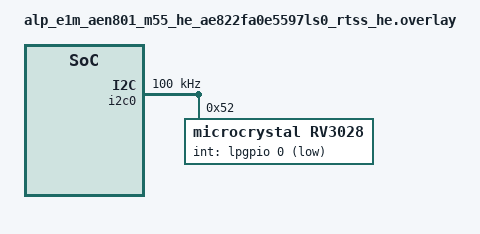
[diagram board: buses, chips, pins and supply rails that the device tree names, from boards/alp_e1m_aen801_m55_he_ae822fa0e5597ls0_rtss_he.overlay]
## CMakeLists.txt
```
# SPDX-License-Identifier: Apache-2.0
#
# On-module RV-3028-C7 RTC + alarm-interrupt example for the E1M-AEN801 (Alif
# Ensemble E8, M55-HE), over UPSTREAM Zephyr's rtc_* API (rtc_rv3028, ADR 0017
# Tier-1 -- no alp-sdk driver in the path).
#
# Plain Zephyr app: it consumes a devicetree-bound upstream driver, so it has no
# board.yaml / alp_project.py step (nothing to select via CONFIG_ALP_SDK_CHIP_*).
# Build with the alp-sdk bench helper, which resolves the fully-qualified board
# target so boards/*.overlay auto-applies:
#
#   scripts/bench/aen/build.sh examples/aen/aen-rtc-alarm
#
# or by hand:
#   west build -b alp_e1m_aen801_m55_he/ae822fa0e5597ls0/rtss_he \
#       examples/aen/aen-rtc-alarm -- \
#       "-DEXTRA_ZEPHYR_MODULES=<alp-sdk>;<hal_alif>"

cmake_minimum_required(VERSION 3.20)

find_package(Zephyr REQUIRED HINTS $ENV{ZEPHYR_BASE})
project(aen_rtc_alarm LANGUAGES C)

target_sources(app PRIVATE src/main.c)
```

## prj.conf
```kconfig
# SPDX-License-Identifier: Apache-2.0
#
# On-module RV-3028-C7 RTC + alarm example for the E1M-AEN801 (Alif Ensemble E8).

# --- Console -----------------------------------------------------------------
# E1M edge UART0 (Alif UART5, P3_4/P3_5, 115200 8N1, NS16550) -- the
# E1M-AEN801 carrier console. The board _defconfig already selects it; it is
# repeated here so the example is self-describing.
CONFIG_SERIAL=y
CONFIG_CONSOLE=y
CONFIG_UART_CONSOLE=y
CONFIG_UART_INTERRUPT_DRIVEN=y
# Serial-less bench? Comment the four lines above and uncomment these to read
# 'ram_console_buf' over SWD instead:
# CONFIG_RAM_CONSOLE=y
# CONFIG_RAM_CONSOLE_BUFFER_SIZE=2048
# CONFIG_UART_CONSOLE=n
CONFIG_PRINTK=y

# --- BRD_I2C (SoC I2C0) ------------------------------------------------------
# The upstream i2c_dw driver (CONFIG_I2C_DW) self-selects `default y` from the
# okay'd "snps,designware-i2c" i2c0 node, so only the subsystem needs enabling.
# PINCTRL is pulled in by i2c0's pinctrl-0; set explicitly for clarity.
CONFIG_I2C=y
CONFIG_PINCTRL=y

# --- Alarm interrupt line ----------------------------------------------------
# The RV-3028 /INT lands on P15_0 = lpgpio bit 0 = IRQ 171, so the driver needs
# the GPIO subsystem to install its edge-triggered callback on that pin.
# CONFIG_GPIO_DW self-selects from the okay'd "snps,designware-gpio" lpgpio node.
CONFIG_GPIO=y

# --- RTC ---------------------------------------------------------------------
# CONFIG_RTC_RV3028 is `default y` off the "microcrystal,rv3028" node in the
# board overlay; it is named here so the example states its own dependency.
# CONFIG_RTC_ALARM is what compiles the alarm half of the driver -- WITHOUT it,
# rtc_alarm_set_callback() and friends are not built and this app does not link.
CONFIG_RTC=y
CONFIG_RTC_ALARM=y
CONFIG_RTC_RV3028=y

# Link at the HE MRAM app partition (0x80010000) so the vector table matches the
# ATOC load address (app-zephyr-he.json mramAddress=0x80010000). FLASH_BASE is
# the full MRAM (0x80000000); without this offset the image links 64 KB low and
# the SES boots into a fault. This is a flashed SES/slot0 target, not a RAM-run
# -- for a Flow C ITCM RAM-run, pass scripts/bench/aen/aen-flowc-itcm.{conf,overlay}
# on the build command line rather than editing this file.
CONFIG_FLASH_LOAD_OFFSET=0x10000

# Logging OFF: this is a teaching example and every line it needs is a printk.
CONFIG_LOG=n
```

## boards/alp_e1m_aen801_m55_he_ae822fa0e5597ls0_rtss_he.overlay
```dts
/*
 * Copyright (c) 2026 Alp Lab AB
 * SPDX-License-Identifier: Apache-2.0
 *
 * On-module RV-3028-C7 RTC + alarm-interrupt overlay for the E1M-AEN801
 * (Alif Ensemble E8, M55-HE).
 *
 * Everything here is a MODULE fact, not an application choice, so it is on its
 * way DOWN one layer: the board files
 * (zephyr/boards/alp/e1m_aen801_m55_he/) are gaining the BRD_I2C bus + the
 * on-module device nodes so every AEN801 app gets them for free.  Until that
 * lands this overlay carries them; because devicetree merges by node PATH and
 * the content below is identical to what the board layer emits, the two
 * compose harmlessly, and this file can then shrink to just the pieces the
 * board layer does not own.
 *
 * The filename must be the FULLY-QUALIFIED board id with '/' -> '_'
 * (alp_e1m_aen801_m55_he/ae822fa0e5597ls0/rtss_he).  Zephyr auto-applies a
 * boards/<name>.overlay only on an exact match against the build's qualified
 * board id -- a bare `alp_e1m_aen801_m55_he.overlay` is SILENTLY ignored, and
 * the app then builds with no RTC node at all.
 *
 * ---------------------------------------------------------------------------
 * BUS -- BRD_I2C is SoC I2C0 function C
 * ---------------------------------------------------------------------------
 * E1M-AEN-2626-R2 netlist pinmap rows:
 *     "BRD_I2C_SDA",U6,B8,"P7_0/SCP0_A"
 *     "BRD_I2C_SCL",U6,B3,"P7_1/SCP1_A"
 * AE822 DFP pin table: P7_0 alt-fn [4] = I2C0_SDA_C, P7_1 alt-fn [4] =
 * I2C0_SCL_C.  So BRD_I2C is the DesignWare master i2c0 (i2c@49010000,
 * "snps,designware-i2c", interrupts = <132 3>), driven by UPSTREAM Zephyr's
 * i2c_dw -- ADR 0017 Tier-1, no vendored driver.
 *
 * Two pad traps, each of which has already cost a wasted bench run:
 *
 *   input-enable on BOTH pins.  Alif's own DFP sets PADCTRL_READ_ENABLE on
 *   P7_0 *and* P7_1.  With it on SDA only, i2c_dw cannot sense SCL
 *   (clock-stretch detect / arbitration) and NACKs every address for a reason
 *   that looks electrical but is not.
 *
 *   bias-pull-up, NOT bias-pull-down.  soc/alif/ensemble/pinctrl_soc.h encodes
 *   pad bits 19:20 [DSC] as 0 = high-Z, 1 = pull-up, 2 = pull-down,
 *   3 = bus-keeper, so bias-pull-up here is a REAL pull-up.  Do NOT copy the
 *   I2C2/EEPROM overlay's bias-pull-down: that is DSC=2, a pull-DOWN, and it is
 *   harmless there only because that segment has external carrier pull-ups
 *   (R137/R144) that overpower it.  BRD_I2C has NO external pull-up anywhere --
 *   it never reaches the E1M edge connector, so no carrier can add one.
 *
 * drive-open-drain is deliberately NOT set, so pad bit 23 [DRV] stays 0 =
 * push-pull and the pad actively drives the high phase instead of waiting on a
 * pull-up.  BENCH-PROVEN 2026-09-05 on E1M-AEN801 2626-R2 (Flow A, cold-cycle
 * proven): every non-response on this bus is a clean rc=-5 (-EIO) NACK, with
 * ZERO -ETIMEDOUT and ZERO "User Abort" -- the bus works on the internal pull
 * alone.  (An older ensemble_e8_peripherals.dtsi comment calling this bus "NOT
 * usable as built" was measured on an r1 module, where these parts are not on
 * P7_0/P7_1 at all.  It does not apply to R2.)
 *
 * ---------------------------------------------------------------------------
 * ALARM LINE -- RV-3028 /INT -> P15_0 -> LPGPIO bit 0 -> IRQ 171
 * ---------------------------------------------------------------------------
 * U21 pin 2 (/INT) drives net RTC_ALARM to SoC pad U6 V2 = P15_0_FLEX, with
 * R98 = 100k to +1V8 FITTED as the open-drain pull-up.  ACTIVE LOW.
 *
 * P15 is the Alif low-power GPIO island (lpgpio @ 0x42002000,
 * "snps,designware-gpio", ngpios = <8>, interrupts = <171 3> .. <178 3>, one
 * IRQ per bit).  P15_0 is bit 0, so the alarm lands on IRQ 171.
 *
 * No pinctrl group is needed for P15_0: PIN_P15_0__LPGPIO is
 * ALIF_PINMUX(15, 0, 0) -- function 0, the pad's RESET DEFAULT.  Same reasoning
 * as examples/aen/aen-usb-firstlight, which drives P15_1/P15_5 with a bare
 * `&lpgpio { status = "okay"; }`.
 *
 * RISK, and the first thing to check if the interrupt never fires: the AE822
 * DFP warns "Note that LPGPIO_CTRL_n register has a different layout!" for
 * port 15.  If rtc_get_time() works but the alarm callback never arrives, that
 * layout difference (not the RTC) is the leading suspect -- see the RESULT
 * PARTIAL wording in src/main.c.
 *
 * ---------------------------------------------------------------------------
 * POWER -- why backup-switch-mode is "disabled" and there is no trickle charger
 * ---------------------------------------------------------------------------
 * VDD_BAT / VBACKUP (U21 pin 6) has NO SUPPLY FITTED on this batch.  Its only
 * other net members are R4 and R68, both 0-ohm and both DNP=1.  There is no
 * backup cell and no trickle source, so:
 *
 *   backup-switch-mode = "disabled"   (the binding REQUIRES this property, and
 *                                      "direct"/"level" would arm a switchover
 *                                      to a rail that does not exist)
 *   trickle-resistor-ohms OMITTED     (enabling a trickle charger into an
 *                                      unpopulated VBACKUP would be wrong)
 *
 * CONSEQUENCE, and the thing customers get bitten by: the RV-3028 does NOT
 * retain the time OR a pending alarm across a power cycle on this batch.  Every
 * cold boot starts from an unset clock.  Do not build persistence on it.
 *
 * clkout-frequency is also OMITTED.  RTC_CLKOUT (U21 pin 1) goes ONLY to the
 * E1M edge connector (E1 pin AH16); it does NOT reach the SoC, so firmware
 * cannot consume it.  Leaving the property out keeps the pin LOW; enabling it
 * is a CARRIER designer's choice, not a firmware one.
 *
 * MODULE_STBY (U21 pin 8, the EVI external-event input) likewise comes FROM the
 * edge connector (E1 pin O2) with R43 = 100k to +1V8.  It is carrier-driven; no
 * firmware on this module can assert it.
 */

#include <zephyr/dt-bindings/pinctrl/alif-ensemble-pinctrl.h>
#include <zephyr/dt-bindings/gpio/gpio.h>
#include <zephyr/dt-bindings/i2c/i2c.h>

&pinctrl {
	/* One group, both pins, identical config -- see the header for why
	 * input-enable must be on BOTH and why the bias is a pull-UP. */
	pinctrl_i2c0: pinctrl_i2c0 {
		group0 {
			pinmux = <PIN_P7_0__I2C0_SDA_C>, <PIN_P7_1__I2C0_SCL_C>;
			input-enable;
			bias-pull-up;
			/* This net's rise time is set by the weak internal pull, so
			 * the edges are slow; hysteresis stops a slow edge being read
			 * as several transitions. */
			input-schmitt-enable;
			/* The pad is push-pull here, so drive strength and slew rate
			 * really do shorten the rising edge.  Max both. */
			drive-strength = <12>;
			slew-rate = "fast";
		};
	};
};

/* Enable the LP GPIO island so the RTC_ALARM input (P15_0 = lpgpio bit 0,
 * IRQ 171) is readable and interruptible.  gpio_dw needs no clocks and no
 * pinctrl on the controller, and P15_0's reset-default mux is already LPGPIO. */
&lpgpio {
	status = "okay";
};

&i2c0 {
	status = "okay";
	pinctrl-0 = <&pinctrl_i2c0>;
	pinctrl-names = "default";
	/* 100 kHz standard mode.  No fast-mode margin: this net's only pull is
	 * the SoC pad's internal one (see the header). */
	clock-frequency = <I2C_BITRATE_STANDARD>;

	/*
	 * U21 = RV-3028-C7 32.768KHZ 1PPM-TA-QA (Micro Crystal), DNP=0 FITTED.
	 * 7-bit address 0x52, bench-confirmed 2026-09-05 (ID register 0x28 reads
	 * 0x44, and the Seconds register advanced 0x01 -> 0x02, so the oscillator
	 * is genuinely running).
	 *
	 * Bound by UPSTREAM Zephyr's drivers/rtc/rtc_rv3028.c
	 * (compatible "microcrystal,rv3028", CONFIG_RTC_RV3028) -- ADR 0017
	 * Tier-1, no vendored code.
	 */
	rv3028: rtc@52 {
		compatible = "microcrystal,rv3028";
		reg = <0x52>;

		/* REQUIRED by the binding.  "disabled" is the only correct value on
		 * this batch: VBACKUP (U21 pin 6) has no supply fitted -- R4 and R68
		 * are both DNP -- so there is nothing to switch over TO. */
		backup-switch-mode = "disabled";

		/* trickle-resistor-ohms deliberately ABSENT: no backup cell exists to
		 * charge.  clkout-frequency deliberately ABSENT: RTC_CLKOUT reaches
		 * only the E1M edge connector (E1 pin AH16), never the SoC. */

		/* /INT -> P15_0 -> lpgpio bit 0 -> IRQ 171.  Open-drain, ACTIVE LOW,
		 * pulled to +1V8 by R98 = 100k (fitted).  The driver configures this
		 * as GPIO_INT_EDGE_TO_ACTIVE, which is why a stale, still-asserted
		 * /INT from a previous run produces no edge and no callback -- see the
		 * flag-clearing note in src/main.c. */
		int-gpios = <&lpgpio 0 GPIO_ACTIVE_LOW>;
	};
};
```

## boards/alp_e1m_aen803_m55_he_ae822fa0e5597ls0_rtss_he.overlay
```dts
/*
 * Copyright (c) 2026 Alp Lab AB
 * SPDX-License-Identifier: Apache-2.0
 *
 * On-module RV-3028-C7 RTC + alarm-interrupt overlay for the E1M-AEN803
 * (Alif Ensemble E8, M55-HE).
 *
 * Everything here is a MODULE fact, not an application choice, so it is on its
 * way DOWN one layer: the board files
 * (zephyr/boards/alp/e1m_aen803_m55_he/) are gaining the BRD_I2C bus + the
 * on-module device nodes so every AEN803 app gets them for free.  Until that
 * lands this overlay carries them; because devicetree merges by node PATH and
 * the content below is identical to what the board layer emits, the two
 * compose harmlessly, and this file can then shrink to just the pieces the
 * board layer does not own.
 *
 * The filename must be the FULLY-QUALIFIED board id with '/' -> '_'
 * (alp_e1m_aen803_m55_he/ae822fa0e5597ls0/rtss_he).  Zephyr auto-applies a
 * boards/<name>.overlay only on an exact match against the build's qualified
 * board id -- a bare `alp_e1m_aen803_m55_he.overlay` is SILENTLY ignored, and
 * the app then builds with no RTC node at all.
 *
 * ---------------------------------------------------------------------------
 * BUS -- BRD_I2C is SoC I2C0 function C
 * ---------------------------------------------------------------------------
 * E1M-AEN-2626-R2 netlist pinmap rows:
 *     "BRD_I2C_SDA",U6,B8,"P7_0/SCP0_A"
 *     "BRD_I2C_SCL",U6,B3,"P7_1/SCP1_A"
 * AE822 DFP pin table: P7_0 alt-fn [4] = I2C0_SDA_C, P7_1 alt-fn [4] =
 * I2C0_SCL_C.  So BRD_I2C is the DesignWare master i2c0 (i2c@49010000,
 * "snps,designware-i2c", interrupts = <132 3>), driven by UPSTREAM Zephyr's
 * i2c_dw -- ADR 0017 Tier-1, no vendored driver.
 *
 * Two pad traps, each of which has already cost a wasted bench run:
 *
 *   input-enable on BOTH pins.  Alif's own DFP sets PADCTRL_READ_ENABLE on
 *   P7_0 *and* P7_1.  With it on SDA only, i2c_dw cannot sense SCL
 *   (clock-stretch detect / arbitration) and NACKs every address for a reason
 *   that looks electrical but is not.
 *
 *   bias-pull-up, NOT bias-pull-down.  soc/alif/ensemble/pinctrl_soc.h encodes
 *   pad bits 19:20 [DSC] as 0 = high-Z, 1 = pull-up, 2 = pull-down,
 *   3 = bus-keeper, so bias-pull-up here is a REAL pull-up.  Do NOT copy the
 *   I2C2/EEPROM overlay's bias-pull-down: that is DSC=2, a pull-DOWN, and it is
 *   harmless there only because that segment has external carrier pull-ups
 *   (R137/R144) that overpower it.  BRD_I2C has NO external pull-up anywhere --
 *   it never reaches the E1M edge connector, so no carrier can add one.
 *
 * drive-open-drain is deliberately NOT set, so pad bit 23 [DRV] stays 0 =
 * push-pull and the pad actively drives the high phase instead of waiting on a
 * pull-up.  BENCH-PROVEN 2026-09-05 on E1M-AEN801 2626-R2 (Flow A, cold-cycle
 * proven): every non-response on this bus is a clean rc=-5 (-EIO) NACK, with
 * ZERO -ETIMEDOUT and ZERO "User Abort" -- the bus works on the internal pull
 * alone.  (An older ensemble_e8_peripherals.dtsi comment calling this bus "NOT
 * usable as built" was measured on an r1 module, where these parts are not on
 * P7_0/P7_1 at all.  It does not apply to R2.)  This is SoC-pad electrics on
 * the same AE822 M55-HE die, not an OSPI0/HyperRAM-population fact, so it is
 * expected to hold on AEN803 too -- but AEN803 has not been separately
 * bench-proven on this bus, and this backfilled overlay is unbuilt as of
 * #2128 (Refs #2128).
 *
 * ---------------------------------------------------------------------------
 * ALARM LINE -- RV-3028 /INT -> P15_0 -> LPGPIO bit 0 -> IRQ 171
 * ---------------------------------------------------------------------------
 * U21 pin 2 (/INT) drives net RTC_ALARM to SoC pad U6 V2 = P15_0_FLEX, with
 * R98 = 100k to +1V8 FITTED as the open-drain pull-up.  ACTIVE LOW.
 *
 * P15 is the Alif low-power GPIO island (lpgpio @ 0x42002000,
 * "snps,designware-gpio", ngpios = <8>, interrupts = <171 3> .. <178 3>, one
 * IRQ per bit).  P15_0 is bit 0, so the alarm lands on IRQ 171.
 *
 * No pinctrl group is needed for P15_0: PIN_P15_0__LPGPIO is
 * ALIF_PINMUX(15, 0, 0) -- function 0, the pad's RESET DEFAULT.  Same reasoning
 * as examples/aen/aen-usb-firstlight, which drives P15_1/P15_5 with a bare
 * `&lpgpio { status = "okay"; }`.
 *
 * RISK, and the first thing to check if the interrupt never fires: the AE822
 * DFP warns "Note that LPGPIO_CTRL_n register has a different layout!" for
 * port 15.  If rtc_get_time() works but the alarm callback never arrives, that
 * layout difference (not the RTC) is the leading suspect -- see the RESULT
 * PARTIAL wording in src/main.c.
 *
 * ---------------------------------------------------------------------------
 * POWER -- why backup-switch-mode is "disabled" and there is no trickle charger
 * ---------------------------------------------------------------------------
 * VDD_BAT / VBACKUP (U21 pin 6) has NO SUPPLY FITTED on this batch.  Its only
 * other net members are R4 and R68, both 0-ohm and both DNP=1.  There is no
 * backup cell and no trickle source, so:
 *
 *   backup-switch-mode = "disabled"   (the binding REQUIRES this property, and
 *                                      "direct"/"level" would arm a switchover
 *                                      to a rail that does not exist)
 *   trickle-resistor-ohms OMITTED     (enabling a trickle charger into an
 *                                      unpopulated VBACKUP would be wrong)
 *
 * CONSEQUENCE, and the thing customers get bitten by: the RV-3028 does NOT
 * retain the time OR a pending alarm across a power cycle on this batch.  Every
 * cold boot starts from an unset clock.  Do not build persistence on it.
 *
 * clkout-frequency is also OMITTED.  RTC_CLKOUT (U21 pin 1) goes ONLY to the
 * E1M edge connector (E1 pin AH16); it does NOT reach the SoC, so firmware
 * cannot consume it.  Leaving the property out keeps the pin LOW; enabling it
 * is a CARRIER designer's choice, not a firmware one.
 *
 * MODULE_STBY (U21 pin 8, the EVI external-event input) likewise comes FROM the
 * edge connector (E1 pin O2) with R43 = 100k to +1V8.  It is carrier-driven; no
 * firmware on this module can assert it.
 */

#include <zephyr/dt-bindings/pinctrl/alif-ensemble-pinctrl.h>
#include <zephyr/dt-bindings/gpio/gpio.h>
#include <zephyr/dt-bindings/i2c/i2c.h>

&pinctrl {
	/* One group, both pins, identical config -- see the header for why
	 * input-enable must be on BOTH and why the bias is a pull-UP. */
	pinctrl_i2c0: pinctrl_i2c0 {
		group0 {
			pinmux = <PIN_P7_0__I2C0_SDA_C>, <PIN_P7_1__I2C0_SCL_C>;
			input-enable;
			bias-pull-up;
			/* This net's rise time is set by the weak internal pull, so
			 * the edges are slow; hysteresis stops a slow edge being read
			 * as several transitions. */
			input-schmitt-enable;
			/* The pad is push-pull here, so drive strength and slew rate
			 * really do shorten the rising edge.  Max both. */
			drive-strength = <12>;
			slew-rate = "fast";
		};
	};
};

/* Enable the LP GPIO island so the RTC_ALARM input (P15_0 = lpgpio bit 0,
 * IRQ 171) is readable and interruptible.  gpio_dw needs no clocks and no
 * pinctrl on the controller, and P15_0's reset-default mux is already LPGPIO. */
&lpgpio {
	status = "okay";
};

&i2c0 {
	status = "okay";
	pinctrl-0 = <&pinctrl_i2c0>;
	pinctrl-names = "default";
	/* 100 kHz standard mode.  No fast-mode margin: this net's only pull is
	 * the SoC pad's internal one (see the header). */
	clock-frequency = <I2C_BITRATE_STANDARD>;

	/*
	 * U21 = RV-3028-C7 32.768KHZ 1PPM-TA-QA (Micro Crystal), DNP=0 FITTED.
	 * 7-bit address 0x52, bench-confirmed 2026-09-05 (ID register 0x28 reads
	 * 0x44, and the Seconds register advanced 0x01 -> 0x02, so the oscillator
	 * is genuinely running).
	 *
	 * Bound by UPSTREAM Zephyr's drivers/rtc/rtc_rv3028.c
	 * (compatible "microcrystal,rv3028", CONFIG_RTC_RV3028) -- ADR 0017
	 * Tier-1, no vendored code.
	 */
	rv3028: rtc@52 {
		compatible = "microcrystal,rv3028";
		reg = <0x52>;

		/* REQUIRED by the binding.  "disabled" is the only correct value on
		 * this batch: VBACKUP (U21 pin 6) has no supply fitted -- R4 and R68
		 * are both DNP -- so there is nothing to switch over TO. */
		backup-switch-mode = "disabled";

		/* trickle-resistor-ohms deliberately ABSENT: no backup cell exists to
		 * charge.  clkout-frequency deliberately ABSENT: RTC_CLKOUT reaches
		 * only the E1M edge connector (E1 pin AH16), never the SoC. */

		/* /INT -> P15_0 -> lpgpio bit 0 -> IRQ 171.  Open-drain, ACTIVE LOW,
		 * pulled to +1V8 by R98 = 100k (fitted).  The driver configures this
		 * as GPIO_INT_EDGE_TO_ACTIVE, which is why a stale, still-asserted
		 * /INT from a previous run produces no edge and no callback -- see the
		 * flag-clearing note in src/main.c. */
		int-gpios = <&lpgpio 0 GPIO_ACTIVE_LOW>;
	};
};
```

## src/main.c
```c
/*
 * Copyright (c) 2026 Alp Lab AB
 * SPDX-License-Identifier: Apache-2.0
 *
 * On-module RV-3028-C7 real-time clock + alarm interrupt on the E1M-AEN801
 * (Alif Ensemble E8, Cortex-M55-HE), over UPSTREAM Zephyr's `rtc_*` API.
 *
 * The part is driven by drivers/rtc/rtc_rv3028.c (compatible
 * "microcrystal,rv3028", CONFIG_RTC_RV3028) sitting on the BRD_I2C
 * housekeeping bus = SoC I2C0, and its /INT pin lands on P15_0 = LPGPIO bit 0
 * = IRQ 171.  ADR 0017 Tier-1: no alp-sdk driver, no vendored code, just the
 * devicetree node under boards/ plus this app.
 *
 * What this example demonstrates, in order
 * ---------------------------------------
 *   1. rtc_set_time() a known wall clock, rtc_get_time() it straight back, and
 *      print BOTH so the round trip is visible rather than asserted.
 *   2. Wait a few seconds and read again -- the clock must have ADVANCED.  A
 *      part that merely answers on I2C is not a running clock; only a second
 *      read separated in time proves the 32.768 kHz oscillator is oscillating.
 *   3. Arm an alarm and wait for it via the RTC alarm CALLBACK, with a bounded
 *      timeout so a dead interrupt line ends the run instead of hanging it.
 *   4. Disarm and clear the alarm flag so a re-run behaves identically.
 *   5. Print one machine-greppable RESULT PASS / PARTIAL / FAIL line.
 *
 * ===========================================================================
 * READ THIS BEFORE COPYING -- three module facts that will bite you
 * ===========================================================================
 *
 * (a) NO BACKUP SUPPLY -- THE CLOCK DOES NOT SURVIVE A POWER CYCLE.
 *     VBACKUP (U21 pin 6) has no supply fitted on this batch: its only other
 *     net members are R4 and R68, both 0-ohm and both DNP.  There is no coin
 *     cell, no supercap, and no trickle source, so the devicetree carries
 *     `backup-switch-mode = "disabled"` (the binding REQUIRES the property) and
 *     NO `trickle-resistor-ohms`.
 *
 *     Consequence: neither the time NOR a pending alarm is retained across a
 *     power cycle.  Every cold boot starts from an unset clock -- which is
 *     exactly why step 1 of this example SETS the time rather than assuming it.
 *     Do not design a feature on this RTC that implies persistence; if you need
 *     wall-clock time across a power cycle on this batch, it has to come from
 *     the network or from the host, not from here.
 *
 * (b) RTC_CLKOUT IS CARRIER-FACING AND FIRMWARE CANNOT USE IT.
 *     U21 pin 1 (CLKOUT) goes ONLY to the E1M edge connector, E1 pin AH16.  It
 *     does NOT reach the SoC.  The binding's `clkout-frequency` is therefore a
 *     choice made FOR A CARRIER, and it is deliberately omitted from the
 *     overlay so the pin stays LOW.  No firmware on this module can consume it.
 *
 * (c) MODULE_STBY / EVI IS AN INPUT DRIVEN BY THE CARRIER.
 *     U21 pin 8 (EVI, the external event input) comes FROM the edge connector,
 *     E1 pin O2, with R43 = 100k to +1V8.  It is asserted by carrier hardware.
 *     This module's firmware cannot drive it, so an EVI-triggered timestamp is
 *     a carrier integration feature, not something this app can exercise.
 *
 * ===========================================================================
 * ALARM RESOLUTION -- why the alarm is a MINUTE away, not "a few seconds"
 * ===========================================================================
 * The RV-3028's alarm register file holds MINUTES, HOURS and DATE only -- there
 * is no seconds alarm.  Upstream reflects that exactly:
 * rv3028_alarm_get_supported_fields() returns
 * MINUTE | HOUR | MONTHDAY, and rv3028_alarm_set_time() rejects any other bit
 * with -EINVAL.  So the finest alarm the hardware can express is "at the top of
 * some minute".
 *
 * This example gets a SHORT wait out of a minute-resolution alarm by choosing
 * the start time: it sets the clock to <minute>:SET_SECOND (second 40), then
 * arms the alarm for <minute>+1.  The alarm therefore fires ~20 s later --
 * short enough to watch on a bench, with no hardware capability invented.
 * ALARM_TIMEOUT_S is a full minute past that, so even a worst-case rollover
 * still ends in a bounded, reportable failure.
 *
 * Mask is RTC_ALARM_TIME_MASK_MINUTE alone -- no HOUR, no MONTHDAY.  An alarm
 * matched on minutes only recurs every hour, which is all this demo needs and
 * keeps the arming free of hour/day rollover arithmetic.
 *
 * ===========================================================================
 * CONSOLE
 * ===========================================================================
 * The E1M edge UART0 (Alif UART5, P3_4/P3_5, 115200 8N1).  See prj.conf for
 * the RAM-console alternative if your bench has no serial.
 */

#include <zephyr/kernel.h>
#include <zephyr/device.h>
#include <zephyr/drivers/rtc.h>

/* The RV-3028 node lives in boards/alp_e1m_aen801_m55_he_..._rtss_he.overlay as
 * a child of i2c0 (BRD_I2C).  DEVICE_DT_GET on a missing node is a BUILD error,
 * not a silent runtime NULL, so a dropped overlay cannot slip through. */
#define RTC_NODE DT_NODELABEL(rv3028)

static const struct device *const rtc = DEVICE_DT_GET(RTC_NODE);

/*
 * Wall clock we program in step 1.  The absolute instant is arbitrary -- the
 * example proves the clock ROUND-TRIPS and ADVANCES, not that it is correct.
 *
 * SET_SECOND is NOT arbitrary: it puts the clock 20 s before the top of the
 * next minute, which is what turns a minute-resolution alarm into a ~20 s wait.
 * See the "ALARM RESOLUTION" note in the file header.
 */
#define SET_YEAR   2026 /* struct rtc_time stores tm_year as years since 1900. */
#define SET_MONTH  9    /* 1..12 here; tm_mon is 0-based, converted below.     */
#define SET_DAY    5
#define SET_HOUR   12
#define SET_MINUTE 30
#define SET_SECOND 40

/* Dwell between the two reads that prove the oscillator runs.  3 s comfortably
 * clears the 1 s resolution of the seconds field even if the first read lands
 * just after a tick. */
#define ADVANCE_GAP_MS 3000U

/* Bounded wait for the alarm callback.  The alarm is ~20 s out (see above); 90 s
 * leaves more than a full minute of margin and still GUARANTEES the app reaches
 * its RESULT line instead of blocking forever on dead hardware. */
#define ALARM_TIMEOUT_S 90

/* The alarm callback runs from the system workqueue (rv3028_work_cb submits it
 * from the GPIO ISR), so a semaphore is the right handoff to main. */
static K_SEM_DEFINE(alarm_sem, 0, 1);

/**
 * @brief RTC alarm callback -- runs on the system workqueue, not in the ISR.
 *
 * The upstream driver's GPIO handler only submits work; the I2C register reads
 * that clear the alarm flag happen in that work item, and this callback is
 * invoked afterwards.  Keep it to a handoff: I2C transfers from here would
 * block the shared system workqueue.
 *
 * @param dev       The RTC device that raised the alarm.
 * @param id        Alarm id (the RV-3028 has exactly one, id 0).
 * @param user_data Opaque pointer supplied to rtc_alarm_set_callback().
 */
static void alarm_cb(const struct device *dev, uint16_t id, void *user_data)
{
	ARG_UNUSED(dev);
	ARG_UNUSED(id);
	ARG_UNUSED(user_data);

	k_sem_give(&alarm_sem);
}

/**
 * @brief Print one struct rtc_time in ISO-ish form.
 *
 * @param what Short label identifying which read this is.
 * @param t    Time to print. tm_year is years since 1900 and tm_mon is 0-based,
 *             both denormalised here for human reading.
 */
static void print_time(const char *what, const struct rtc_time *t)
{
	printk("%s: %04d-%02d-%02d %02d:%02d:%02d\n",
	       what,
	       t->tm_year + 1900,
	       t->tm_mon + 1,
	       t->tm_mday,
	       t->tm_hour,
	       t->tm_min,
	       t->tm_sec);
}

int main(void)
{
	struct rtc_time set_t      = { 0 };
	struct rtc_time rd1        = { 0 };
	struct rtc_time rd2        = { 0 };
	struct rtc_time alarm_t    = { 0 };
	uint16_t        supported  = 0U;
	bool            time_ok    = false;
	bool            advance_ok = false;
	bool            alarm_ok   = false;
	int             rc;

	printk("\n=== E1M-AEN801 RV-3028-C7 RTC + alarm (upstream rtc_rv3028 on BRD_I2C) ===\n");
	printk("NOTE: VBACKUP is unpopulated on this batch (R4/R68 DNP) -- neither the\n");
	printk("      time nor a pending alarm survives a power cycle.  That is why this\n");
	printk("      example SETS the clock at every boot instead of reading it.\n");

	if (!device_is_ready(rtc)) {
		printk("RESULT FAIL: rv3028 device not ready -- the RTC did not probe on "
		       "BRD_I2C (I2C0). Check the i2c0 pinctrl (input-enable on BOTH "
		       "P7_0 and P7_1, bias-pull-up not pull-down) before suspecting the "
		       "part.\n");
		return 0;
	}

	/* ------------------------------------------------------------------
	 * 1. Set the time, then read it straight back and print BOTH.
	 * ------------------------------------------------------------------ */
	set_t.tm_year = SET_YEAR - 1900; /* struct rtc_time follows struct tm. */
	set_t.tm_mon  = SET_MONTH - 1;   /* 0-based month.                     */
	set_t.tm_mday = SET_DAY;
	set_t.tm_hour = SET_HOUR;
	set_t.tm_min  = SET_MINUTE;
	set_t.tm_sec  = SET_SECOND;

	rc = rtc_set_time(rtc, &set_t);
	if (rc != 0) {
		printk("RESULT FAIL: rtc_set_time() rc=%d\n", rc);
		return 0;
	}
	print_time("set   ", &set_t);

	rc = rtc_get_time(rtc, &rd1);
	if (rc != 0) {
		printk("RESULT FAIL: rtc_get_time() #1 rc=%d\n", rc);
		return 0;
	}
	print_time("read 1", &rd1);
	time_ok = true;

	/* ------------------------------------------------------------------
	 * 2. Prove the OSCILLATOR runs, not merely that the part answers.
	 *
	 * A register read only shows the I2C slave is alive.  Reading the clock
	 * a second time after a real delay is what distinguishes a running
	 * 32.768 kHz crystal from a frozen one -- and a frozen crystal is a
	 * completely different repair (the part, its load caps) than a dead bus.
	 * ------------------------------------------------------------------ */
	k_msleep(ADVANCE_GAP_MS);

	rc = rtc_get_time(rtc, &rd2);
	if (rc != 0) {
		printk("RESULT FAIL: rtc_get_time() #2 rc=%d\n", rc);
		return 0;
	}
	print_time("read 2", &rd2);

	/* Compare the seconds-of-minute, tolerating the 59 -> 00 wrap: a wrap
	 * makes the raw field go DOWN even though time moved forward, so
	 * "changed" is the correct proof here, not "increased". */
	advance_ok = (rd2.tm_sec != rd1.tm_sec) || (rd2.tm_min != rd1.tm_min);
	printk("oscillator: %s over %u ms (%02d:%02d:%02d -> %02d:%02d:%02d)\n",
	       advance_ok ? "RUNNING (clock advanced)" : "DID NOT ADVANCE",
	       ADVANCE_GAP_MS,
	       rd1.tm_hour,
	       rd1.tm_min,
	       rd1.tm_sec,
	       rd2.tm_hour,
	       rd2.tm_min,
	       rd2.tm_sec);

	/* ------------------------------------------------------------------
	 * 3. Arm the alarm and wait for the interrupt, with a BOUNDED timeout.
	 * ------------------------------------------------------------------ */

	/* Report what the hardware can actually match on, rather than assuming.
	 * On the RV-3028 this is MINUTE | HOUR | MONTHDAY -- there is no seconds
	 * alarm, which is why the wait below is a minute boundary and not an
	 * arbitrary "N seconds from now". */
	rc = rtc_alarm_get_supported_fields(rtc, 0U, &supported);
	if (rc != 0) {
		printk("rtc_alarm_get_supported_fields() rc=%d\n", rc);
	} else {
		printk("alarm supported-field mask: 0x%04x (MINUTE=0x%04x HOUR=0x%04x "
		       "MONTHDAY=0x%04x; note: NO seconds alarm on this part)\n",
		       supported,
		       (unsigned int)RTC_ALARM_TIME_MASK_MINUTE,
		       (unsigned int)RTC_ALARM_TIME_MASK_HOUR,
		       (unsigned int)RTC_ALARM_TIME_MASK_MONTHDAY);
	}

	/* Clear any alarm flag left over from a PREVIOUS run BEFORE installing the
	 * callback.  rtc_alarm_is_pending() both reports and clears the RV-3028
	 * STATUS.AF bit, and rtc_alarm_set_callback() submits the driver's work
	 * item immediately -- so a stale AF would otherwise fire alarm_cb() the
	 * instant we arm, and this app would "pass" without the hardware ever
	 * having raised an interrupt. */
	rc = rtc_alarm_is_pending(rtc, 0U);
	if (rc == 1) {
		printk("cleared a STALE alarm flag left set by a previous run\n");
	} else if (rc < 0) {
		printk("rtc_alarm_is_pending() (pre-arm clear) rc=%d\n", rc);
	}

	/* Alarm at the top of the NEXT minute.  We set the clock to second 40
	 * above, so this lands ~20 s out (minus the ADVANCE_GAP_MS already spent). */
	alarm_t.tm_min = (SET_MINUTE + 1) % 60;
	rc             = rtc_alarm_set_time(rtc, 0U, RTC_ALARM_TIME_MASK_MINUTE, &alarm_t);
	if (rc != 0) {
		printk("RESULT FAIL: rtc_alarm_set_time() rc=%d (clock itself is fine -- "
		       "set/get/advance all passed)\n",
		       rc);
		return 0;
	}
	printk("alarm armed for minute %02d (mask=MINUTE only); now %02d:%02d:%02d\n",
	       alarm_t.tm_min,
	       rd2.tm_hour,
	       rd2.tm_min,
	       rd2.tm_sec);

	rc = rtc_alarm_set_callback(rtc, 0U, alarm_cb, NULL);
	if (rc != 0) {
		printk("RESULT FAIL: rtc_alarm_set_callback() rc=%d -- with rc=-ENOTSUP, "
		       "the DT node is missing its int-gpios property\n",
		       rc);
		return 0;
	}

	printk("waiting up to %d s for the alarm interrupt (/INT -> P15_0 -> lpgpio "
	       "bit 0 -> IRQ 171) ...\n",
	       ALARM_TIMEOUT_S);
	alarm_ok = (k_sem_take(&alarm_sem, K_SECONDS(ALARM_TIMEOUT_S)) == 0);

	/* ------------------------------------------------------------------
	 * 4. Disarm and clear, so a RE-RUN behaves identically to this one.
	 *
	 * This block is not housekeeping politeness -- it is load-bearing.  The
	 * RV-3028's /INT is open-drain and stays pulled LOW for as long as
	 * STATUS.AF is set, and the upstream driver configures the GPIO as
	 * GPIO_INT_EDGE_TO_ACTIVE.  Leave AF set and the line is STUCK ASSERTED:
	 * the next run's alarm produces no falling edge, so no interrupt, so no
	 * callback -- and the failure looks like a broken alarm line rather than
	 * an uncleared flag from the run before.
	 *
	 * Order matters:
	 *   set_callback(NULL) first  -- clears CONTROL2.AIE, so nothing new is
	 *                                raised while we tear down.
	 *   set_time(mask 0)          -- writes the alarm-enable bits in all three
	 *                                alarm registers, disabling the match.
	 *   is_pending()              -- reads AND clears STATUS.AF, releasing /INT
	 *                                back high.
	 * ------------------------------------------------------------------ */
	rc = rtc_alarm_set_callback(rtc, 0U, NULL, NULL);
	if (rc != 0) {
		printk("teardown: rtc_alarm_set_callback(NULL) rc=%d\n", rc);
	}
	rc = rtc_alarm_set_time(rtc, 0U, 0U, &alarm_t); /* mask 0 == disable. */
	if (rc != 0) {
		printk("teardown: rtc_alarm_set_time(mask=0) rc=%d\n", rc);
	}
	rc = rtc_alarm_is_pending(rtc, 0U);
	if (rc < 0) {
		printk("teardown: rtc_alarm_is_pending() rc=%d -- alarm flag may still be "
		       "SET; the next run will see /INT stuck asserted\n",
		       rc);
	} else {
		printk("alarm disarmed, flag %s\n", rc == 1 ? "cleared" : "already clear");
	}

	/* ------------------------------------------------------------------
	 * 5. One machine-greppable verdict.
	 *
	 * PARTIAL exists specifically to separate "the RTC is broken" from "the
	 * RTC is fine but the interrupt path is not" -- they are different repairs
	 * on different hardware, and collapsing them into FAIL sends a bench
	 * operator after the wrong part.
	 * ------------------------------------------------------------------ */
	if (time_ok && advance_ok && alarm_ok) {
		printk("RESULT PASS: RV-3028-C7 set/get round-tripped, the oscillator "
		       "advanced the clock over %u ms, and the alarm interrupt arrived on "
		       "P15_0 (lpgpio bit 0, IRQ 171) within %d s\n",
		       ADVANCE_GAP_MS,
		       ALARM_TIMEOUT_S);
	} else if (time_ok && advance_ok && !alarm_ok) {
		printk("RESULT PARTIAL: the RTC ITSELF IS HEALTHY -- set/get round-tripped "
		       "and the clock advanced %02d:%02d:%02d -> %02d:%02d:%02d -- but no "
		       "alarm callback arrived within %d s. This is an INTERRUPT-PATH "
		       "fault, not an RTC fault. Check, in order: (1) the AE822 DFP warns "
		       "\"Note that LPGPIO_CTRL_n register has a different layout!\" for "
		       "port 15, which is the most likely cause -- IRQ 171 may not be "
		       "reaching the core even though the pad is correct; (2) STATUS.AF "
		       "left set by a previous run would hold /INT low with no falling "
		       "edge for GPIO_INT_EDGE_TO_ACTIVE; (3) R98 (100k to +1V8) fitted "
		       "on RTC_ALARM.\n",
		       rd1.tm_hour,
		       rd1.tm_min,
		       rd1.tm_sec,
		       rd2.tm_hour,
		       rd2.tm_min,
		       rd2.tm_sec,
		       ALARM_TIMEOUT_S);
	} else {
		printk("RESULT FAIL: the RTC answered on I2C but the clock did not advance "
		       "over %u ms (both reads %02d:%02d:%02d) -- the 32.768 kHz "
		       "oscillator is not running. Suspect the crystal/part, NOT the bus: "
		       "the bus is proven by the successful set/get above.\n",
		       ADVANCE_GAP_MS,
		       rd2.tm_hour,
		       rd2.tm_min,
		       rd2.tm_sec);
	}

	return 0;
}
```
